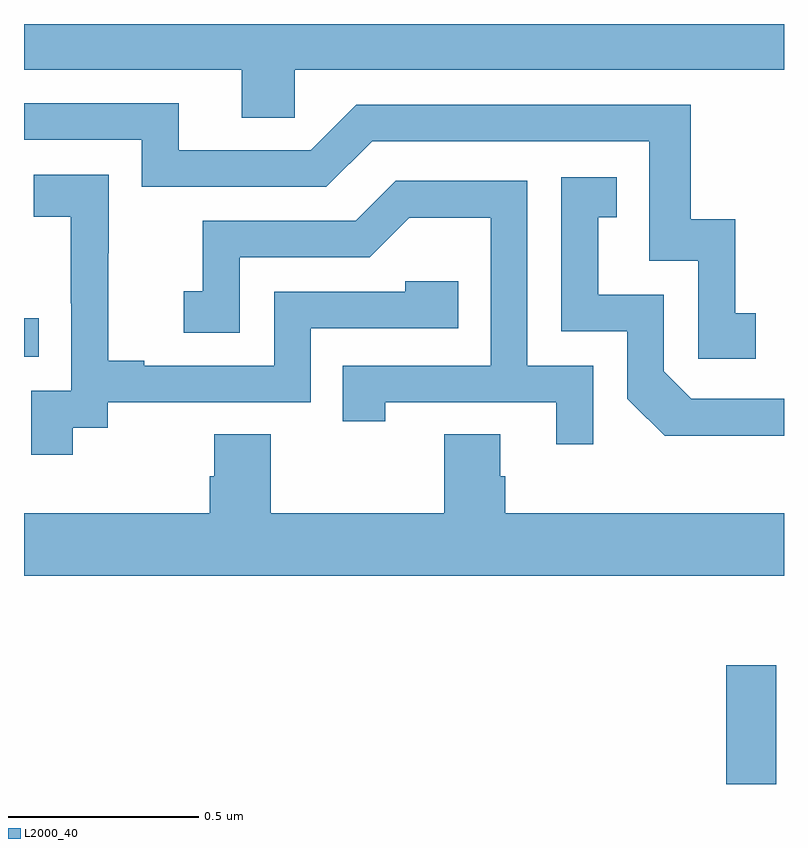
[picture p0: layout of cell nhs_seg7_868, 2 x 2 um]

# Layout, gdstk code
import gdstk
lib = gdstk.Library(unit=1e-6, precision=1e-09)
def R(c, l, rs):  # rectangles x0, y0, x1, y1
    for r in rs: c.add(gdstk.rectangle(r[:2], r[2:], *l))
def P(c, l, *ps):  # polygons
    for p in ps: c.add(gdstk.Polygon(p, *l))
L2000_40 = (2000, 40)

nhs_seg7_868 = lib.new_cell('nhs_seg7_868')
R(nhs_seg7_868, L2000_40, [(123.848,1068,123.979,1068.313), (122,1069.125,122.039,1069.226)])
P(nhs_seg7_868, L2000_40, [(122.712,1069.88),(124,1069.88),(124,1070),(122,1070),(122,1069.88),(122.573,1069.88),(122.573,1069.753),(122.712,1069.753)],
  [(123.925,1069.239),(123.872,1069.239),(123.872,1069.486),(123.754,1069.486),(123.754,1069.788),(122.874,1069.788),(122.754,1069.668),(122.407,1069.668),(122.407,1069.791),(122,1069.791),(122,1069.695),(122.31,1069.695),(122.31,1069.572),(122.796,1069.572),(122.916,1069.692),(123.645,1069.692),(123.645,1069.377),(123.774,1069.377),(123.774,1069.119),(123.925,1069.119)],
  [(122.128,1068.937),(122.22,1068.937),(122.22,1069.005),(122.754,1069.005),(122.754,1069.2),(123.143,1069.2),(123.143,1069.323),(123.003,1069.323),(123.003,1069.296),(122.658,1069.296),(122.658,1069.101),(122.317,1069.101),(122.317,1069.114),(122.222,1069.114),(122.222,1069.397),(122.223,1069.397),(122.223,1069.603),(122.025,1069.603),(122.025,1069.493),(122.123,1069.493),(122.123,1069.265),(122.124,1069.265),(122.124,1069.035),(122.019,1069.035),(122.019,1068.867),(122.128,1068.867)],
  [(124,1069.014),(123.756,1069.014),(123.684,1069.086),(123.684,1069.287),(123.511,1069.287),(123.511,1069.491),(123.56,1069.491),(123.56,1069.597),(123.414,1069.597),(123.414,1069.191),(123.588,1069.191),(123.588,1069.014),(123.597,1069.005),(123.686,1068.917),(124,1068.917)],
  [(123.498,1069.101),(123.324,1069.101),(123.324,1069.587),(122.978,1069.587),(122.873,1069.482),(122.47,1069.482),(122.47,1069.297),(122.421,1069.297),(122.421,1069.188),(122.568,1069.188),(122.568,1069.386),(122.91,1069.386),(123.014,1069.49),(123.228,1069.49),(123.228,1069.101),(122.839,1069.101),(122.839,1068.954),(122.95,1068.954),(122.95,1069.005),(123.401,1069.005),(123.401,1068.894),(123.498,1068.894)],
  [(124,1068.712),(123.266,1068.712),(123.266,1068.81),(123.253,1068.81),(123.253,1068.92),(123.106,1068.92),(123.106,1068.712),(122.649,1068.712),(122.649,1068.92),(122.501,1068.92),(122.501,1068.81),(122.489,1068.81),(122.489,1068.712),(122,1068.712),(122,1068.548),(124,1068.548)])

lib.write_gds('nhs_seg7_868.gds')
